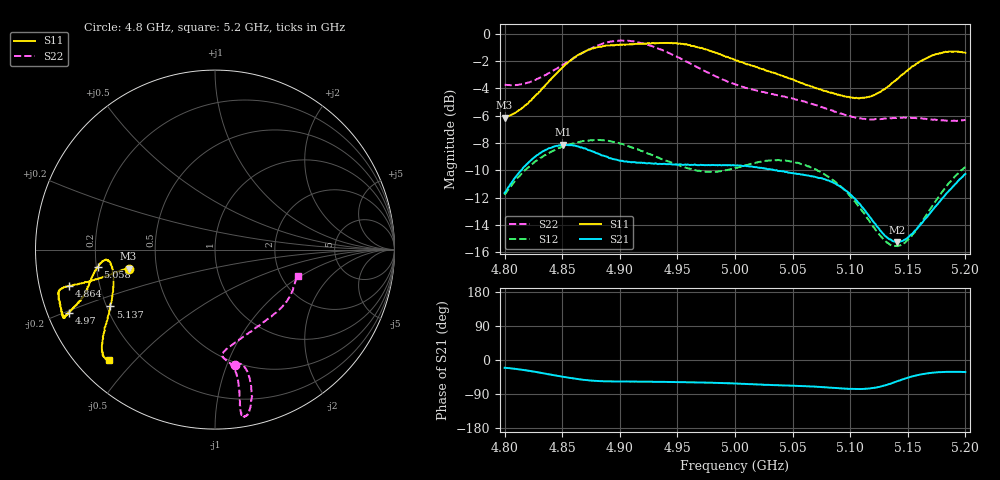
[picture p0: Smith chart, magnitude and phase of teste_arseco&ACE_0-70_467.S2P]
! Network Analyzer HP8722D
! Hewlett-Packard
! Data name: Linha & Wilkinson
! Saver's name: Rodrigo Anjos
! Comments: Teste da utilização de aquisição
! continua pelo VNA HP8722D
! Time and date: 8/5/2025 16:39
!  Frequency  S11  S21  S12  S22
# HZ  S  MA R 50
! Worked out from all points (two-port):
!   401 points, 4.8 GHz to 5.2 GHz, reference 50 ohm
!   highest |S21| = -8.13 dB at 4.851 GHz (marker M1); lowest = -15.3 dB at 5.141 GHz (marker M2)
!   |S21| within 3 dB of the highest: 4.804 GHz to 5.09 GHz (285.9 MHz wide, 5.78 % of centre); 5.190064 GHz to end of sweep
!   lowest |S11| = -6.1 dB at 4.8 GHz (marker M3), VSWR 2.95, Z = 17.1 - j4.83 ohm
!   |S11| at or under -10 dB: nowhere
!   |S22| runs from -6.4 to -0.5 dB; largest |S21 - S12| = 0.62
!   S11 on the Smith chart (normalised r, x): 4.8 GHz: 0.34, -0.10; 4.864 GHz: 0.09, -0.12; 4.97 GHz: 0.06, -0.21; 5.058 GHz: 0.21, -0.07; 5.137 GHz: 0.21, -0.24; 5.2 GHz: 0.09, -0.42
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4.8e9  0.4934 -167.5  0.261 -20.6  0.2569 -141.7  0.6513 -80.2
4.821e9  0.5606 -167.1  0.3384 -28.5  0.325 -144.8  0.6631 -76.4
4.851e9  0.7586 -165.8  0.3922 -44.5  0.3868 -150.3  0.7721 -75.1
4.864e9  0.8382 -165.9  0.3865 -50.4  0.4008 -152.4  0.833 -75.9
4.867e9  0.8505 -166.0  0.3836 -51.7  0.4036 -152.8  0.8484 -76.0
4.88e9  0.8922 -165.5  0.3651 -55.3  0.4086 -154.8  0.9025 -77.4
4.899e9  0.9094 -163.0  0.3438 -56.9  0.3984 -157.2  0.9443 -79.7
4.934e9  0.9252 -156.7  0.3338 -57.7  0.3516 -155.8  0.8794 -81.0
4.97e9  0.8863 -156.6  0.3312 -59.3  0.314 -147.2  0.7443 -80.0
5e9  0.8024 -159.1  0.3297 -62.2  0.3221 -137.6  0.6533 -81.6
5.035e9  0.717 -165.8  0.3161 -66.3  0.3443 -135.1  0.5979 -85.9
5.058e9  0.6595 -171.7  0.3051 -68.8  0.3324 -136.8  0.5679 -84.7
5.067e9  0.6403 -173.4  0.3009 -69.9  0.323 -137.6  0.5529 -82.7
5.083e9  0.6086 -174.7  0.2874 -73.0  0.2954 -139.0  0.5257 -76.5
5.1e9  0.5844 -171.8  0.2576 -76.1  0.2545 -139.3  0.4994 -66.7
5.116e9  0.5875 -164.4  0.2163 -75.7  0.2082 -135.2  0.4867 -55.1
5.134e9  0.6453 -153.3  0.1767 -63.5  0.1696 -118.9  0.4897 -42.9
5.137e9  0.6638 -151.5  0.1739 -60.4  0.1673 -115.0  0.4914 -41.1
5.141e9  0.6845 -149.5  0.1727 -56.0  0.1667 -109.8  0.4926 -38.8
5.154e9  0.7602 -144.2  0.1852 -43.1  0.1836 -93.9  0.4913 -32.1
5.172e9  0.8355 -139.0  0.2276 -33.5  0.2366 -81.1  0.4843 -24.5
5.2e9  0.8516 -133.8  0.3067 -31.9  0.3251 -77.5  0.4832 -17.6
